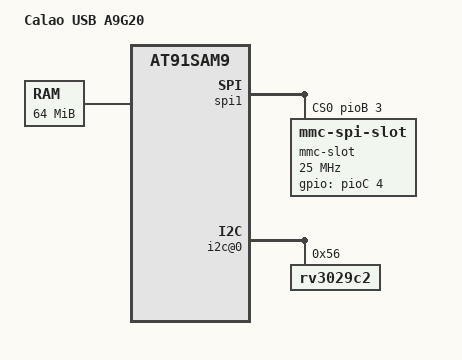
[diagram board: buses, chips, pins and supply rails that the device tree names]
/*
 * usb_a9g20.dts - Device Tree file for Caloa USB A9G20 board
 *
 *  Copyright (C) 2011 Jean-Christophe PLAGNIOL-VILLARD <plagnioj@jcrosoft.com>
 *
 * Licensed under GPLv2 or later.
 */
/dts-v1/;
/include/ "at91sam9g20.dtsi"
/include/ "usb_a9260_common.dtsi"

/ {
	model = "Calao USB A9G20";
	compatible = "calao,usb-a9g20", "atmel,at91sam9g20", "atmel,at91sam9";

	chosen {
		bootargs = "mem=64M console=ttyS0,115200 root=/dev/mtdblock5 rw rootfstype=ubifs";
	};

	memory {
		reg = <0x20000000 0x4000000>;
	};

	ahb {
		apb {
			spi1: spi@fffcc000 {
				cs-gpios = <&pioB 3 0>;
				status = "okay";

				mmc-slot@0 {
					compatible = "mmc-spi-slot";
					reg = <0>;
					gpios = <&pioC 4 0>;	/* CD */
					spi-max-frequency = <25000000>;
				};
			};
		};
	};

	i2c@0 {
		rv3029c2@56 {
			compatible = "rv3029c2";
			reg = <0x56>;
		};
	};
};
